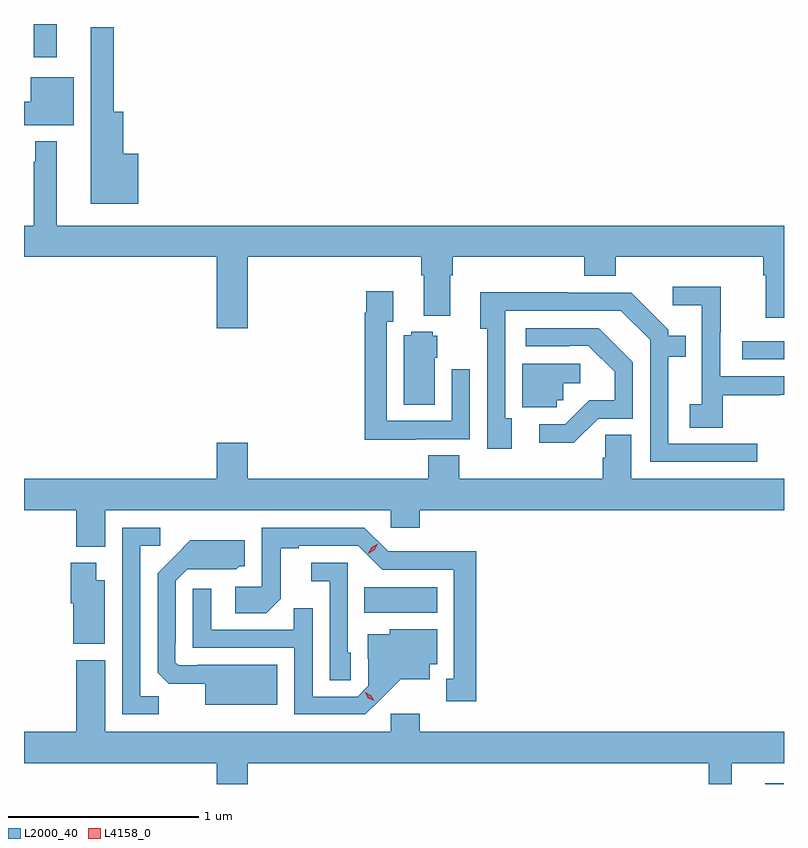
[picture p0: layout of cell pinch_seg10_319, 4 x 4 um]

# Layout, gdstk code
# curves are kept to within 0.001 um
import gdstk
lib = gdstk.Library(unit=1e-6, precision=1e-09)
def R(c, l, rs):  # rectangles x0, y0, x1, y1
    for r in rs: c.add(gdstk.rectangle(r[:2], r[2:], *l))
def P(c, l, *ps):  # polygons
    for p in ps: c.add(gdstk.Polygon(p, *l))
L2000_40 = (2000, 40)
L4158_0 = (4158, 0)

pinch_seg10_319 = lib.new_cell('pinch_seg10_319')
R(pinch_seg10_319, L2000_40, [(491.57,1286.886,491.668,1286.89), (489.46,1287.788,489.844,1287.922), (491.451,1289.121,491.67,1289.217), (487.722,1290.711,487.843,1290.886)])
P(pinch_seg10_319, L2000_40, [(488.272,1290.202),(488.192,1290.202),(488.192,1290.424),(488.143,1290.424),(488.143,1290.868),(488.021,1290.868),(488.021,1289.939),(488.272,1289.939)],
  [(487.933,1290.607),(487.706,1290.607),(487.706,1290.476),(487.67,1290.476),(487.67,1290.353),(487.933,1290.353)],
  [(488.848,1289.66),(489.761,1289.66),(489.761,1289.564),(489.773,1289.564),(489.773,1289.351),(489.913,1289.351),(489.913,1289.564),(489.926,1289.564),(489.926,1289.66),(490.619,1289.66),(490.619,1289.561),(490.784,1289.561),(490.784,1289.66),(491.561,1289.66),(491.561,1289.564),(491.573,1289.564),(491.573,1289.34),(491.67,1289.34),(491.67,1289.824),(487.843,1289.824),(487.843,1290.268),(487.728,1290.268),(487.728,1290.161),(487.722,1290.161),(487.722,1289.824),(487.67,1289.824),(487.67,1289.66),(488.684,1289.66),(488.684,1289.286),(488.848,1289.286)],
  [(491.347,1288.933),(491.651,1288.933),(491.651,1288.935),(491.67,1288.935),(491.67,1289.031),(491.334,1289.031),(491.334,1289.264),(491.337,1289.264),(491.337,1289.503),(491.085,1289.503),(491.085,1289.405),(491.238,1289.405),(491.238,1288.884),(491.175,1288.884),(491.175,1288.762),(491.347,1288.762)],
  [(489.733,1288.701),(490.017,1288.701),(490.017,1289.068),(489.921,1289.068),(489.921,1288.797),(489.579,1288.797),(489.579,1289.318),(489.613,1289.318),(489.613,1289.479),(489.471,1289.479),(489.471,1289.366),(489.463,1289.366),(489.463,1288.697),(489.733,1288.697)],
  [(491.53,1288.677),(491.062,1288.677),(491.062,1289.136),(491.153,1289.136),(491.153,1289.245),(491.061,1289.245),(491.061,1289.277),(490.866,1289.472),(490.535,1289.472),(490.535,1289.474),(490.07,1289.474),(490.07,1289.282),(490.107,1289.282),(490.107,1288.65),(490.237,1288.65),(490.237,1288.81),(490.203,1288.81),(490.203,1289.376),(490.812,1289.376),(490.965,1289.223),(490.965,1288.581),(491.53,1288.581)],
  [(490.692,1288.809),(490.875,1288.809),(490.875,1289.107),(490.696,1289.286),(490.311,1289.286),(490.311,1289.19),(490.541,1289.19),(490.541,1289.193),(490.641,1289.193),(490.778,1289.056),(490.778,1288.906),(490.645,1288.906),(490.518,1288.779),(490.383,1288.779),(490.383,1288.682),(490.564,1288.682)],
  [(489.832,1289.13),(489.844,1289.13),(489.844,1289.244),(489.822,1289.244),(489.822,1289.266),(489.708,1289.266),(489.708,1289.248),(489.668,1289.248),(489.668,1288.882),(489.832,1288.882)],
  [(490.473,1288.905),(490.509,1288.905),(490.509,1288.994),(490.597,1288.994),(490.597,1289.097),(490.292,1289.097),(490.292,1288.869),(490.473,1288.869)],
  [(488.098,1288.328),(489.6,1288.328),(489.6,1288.235),(489.752,1288.235),(489.752,1288.328),(491.67,1288.328),(491.67,1288.492),(490.867,1288.492),(490.867,1288.724),(490.729,1288.724),(490.729,1288.602),(490.715,1288.602),(490.715,1288.492),(489.962,1288.492),(489.962,1288.616),(489.797,1288.616),(489.797,1288.492),(488.848,1288.492),(488.848,1288.681),(488.684,1288.681),(488.684,1288.492),(487.67,1288.492),(487.67,1288.328),(487.946,1288.328),(487.946,1288.136),(488.098,1288.136)],
  [(490.051,1288.112),(489.81,1288.112),(489.81,1288.11),(489.588,1288.11),(489.462,1288.236),(488.922,1288.236),(488.922,1287.924),(488.781,1287.924),(488.781,1287.784),(488.945,1287.784),(489.021,1287.86),(489.021,1288.128),(489.115,1288.128),(489.115,1288.14),(489.429,1288.14),(489.555,1288.014),(489.932,1288.014),(489.932,1287.441),(489.893,1287.441),(489.893,1287.321),(490.051,1287.321)],
  [(488.379,1287.347),(488.283,1287.347),(488.283,1288.14),(488.386,1288.14),(488.386,1288.236),(488.187,1288.236),(488.187,1287.252),(488.379,1287.252)],
  [(489.004,1287.514),(488.584,1287.514),(488.584,1287.51),(488.484,1287.51),(488.466,1287.528),(488.466,1287.628),(488.469,1287.628),(488.469,1287.957),(488.529,1288.017),(488.786,1288.016),(488.802,1288.032),(488.833,1288.032),(488.833,1288.168),(488.545,1288.168),(488.373,1287.994),(488.373,1287.472),(488.432,1287.413),(488.624,1287.413),(488.624,1287.302),(489.004,1287.302)],
  [(488.095,1287.958),(488.05,1287.958),(488.05,1288.051),(487.916,1288.051),(487.916,1287.837),(487.928,1287.837),(487.928,1287.623),(488.095,1287.623)],
  [(489.39,1287.576),(489.375,1287.576),(489.375,1288.05),(489.183,1288.05),(489.183,1287.953),(489.279,1287.953),(489.279,1287.433),(489.39,1287.433)],
  [(489.55,1287.335),(489.653,1287.437),(489.805,1287.437),(489.805,1287.516),(489.844,1287.516),(489.844,1287.7),(489.594,1287.7),(489.594,1287.673),(489.479,1287.673),(489.479,1287.544),(489.483,1287.544),(489.483,1287.402),(489.426,1287.345),(489.189,1287.345),(489.189,1287.812),(489.091,1287.812),(489.091,1287.699),(488.655,1287.699),(488.655,1287.913),(488.559,1287.913),(488.559,1287.603),(489.093,1287.603),(489.093,1287.252),(489.466,1287.252)],
  [(488.848,1286.996),(491.274,1286.996),(491.274,1286.886),(491.395,1286.886),(491.395,1286.996),(491.67,1286.996),(491.67,1287.16),(489.752,1287.16),(489.752,1287.256),(489.6,1287.256),(489.6,1287.16),(488.098,1287.16),(488.098,1287.538),(487.946,1287.538),(487.946,1287.16),(487.67,1287.16),(487.67,1286.996),(488.684,1286.996),(488.684,1286.886),(488.848,1286.886)])
P(pinch_seg10_319, L4158_0, [(489.483,1288.099),(489.483,1288.1),(489.501,1288.132),(489.532,1288.151),(489.533,1288.151),(489.533,1288.15),(489.515,1288.118),(489.483,1288.099)],
  [(489.513,1287.323),(489.482,1287.338),(489.465,1287.367),(489.465,1287.368),(489.466,1287.368),(489.496,1287.352),(489.513,1287.323),(489.513,1287.323)])

lib.write_gds('pinch_seg10_319.gds')
